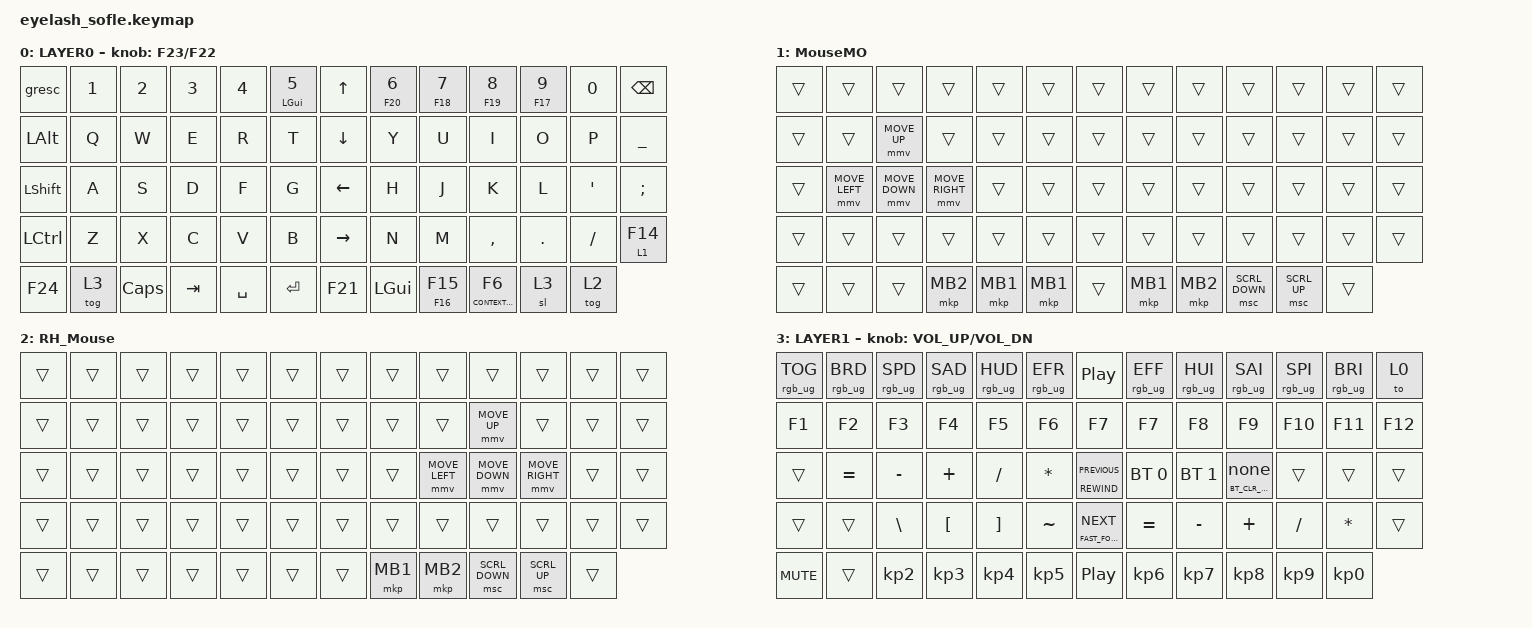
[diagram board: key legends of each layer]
#define ZMK_POINTING_DEFAULT_MOVE_VAL 1200  // 600
#define ZMK_POINTING_DEFAULT_SCRL_VAL 25   // 10

#include <input/processors.dtsi>
#include <zephyr/dt-bindings/input/input-event-codes.h>
#include <behaviors.dtsi>
#include <dt-bindings/zmk/keys.h>
#include <dt-bindings/zmk/pointing.h>
#include <dt-bindings/zmk/rgb.h>
#include <dt-bindings/zmk/bt.h>

&mmv_input_listener { input-processors = <&zip_xy_scaler 2 1>; };

&msc_input_listener { input-processors = <&zip_scroll_scaler 2 1>; };

&msc {
    acceleration-exponent = <1>;      // 0
    time-to-max-speed-ms = <100>;       // 300
    delay-ms = <0>;                   // 0
};

&mmv {
    time-to-max-speed-ms = <500>;
    acceleration-exponent = <1>;
    trigger-period-ms = <16>;
};

&soft_off { hold-time-ms = <2000>; };

// Mod-tap keys on the number row: only become a hold if another key is
// pressed AND released while held, so fast typing stays as taps
&mt {
    flavor = "balanced";
    tapping-term-ms = <200>;
    quick-tap-ms = <175>;
};

/ {
    scroll_encoder: scroll_encoder {
        compatible = "zmk,behavior-sensor-rotate";
        #sensor-binding-cells = <0>;
        bindings = <&msc SCRL_DOWN>, <&msc SCRL_UP>;

        tap-ms = <100>;
    };

    behaviors {
        // Clear the active Bluetooth profile's pairing, but only when held
        // for 1 second. A quick tap does nothing, so it can't fire by accident.
        bt_clr_hold: bt_clr_hold {
            compatible = "zmk,behavior-hold-tap";
            #binding-cells = <2>;
            flavor = "tap-preferred";
            tapping-term-ms = <1000>;
            bindings = <&bt>, <&none>;
        };

        // Tells both halves which PC is active, so the screens show night on
        // PC one and day on PC two (see src/pc_scene.c). Runs automatically;
        // not for a key. Name must stay 8 characters or fewer.
        pc_scene: pc_scene {
            compatible = "zmk,behavior-pc-scene";
            #binding-cells = <1>;
        };
    };

    // RGB colour by layer and PC (see src/layer_color.c). The colour changes as
    // soon as a layer becomes active or you switch PC, on both halves.
    // hue = <PC-one PC-two>: cool colours for PC one, warm colours for PC two.
    // hue: 0 red, 30 orange/amber, 60 yellow, 120 green, 160 teal, 180 cyan,
    //      240 blue, 280 violet, 300 magenta, 330 pink
    // Optional per layer: saturation = <0-100>; brightness = <0-100>;
    //   effect = <0 solid, 1 breathe, 2 spectrum, 3 swirl>;
    // Brightness left out = whatever you set with RGB_BRI / RGB_BRD.
    layer_colors {
        compatible = "zmk,layer-color";

        base     { layer = <0>; hue = <160  30>; };  // LAYER0:          teal   / amber
        mouse    { layer = <1>; hue = <240   0>; };  // MouseMO (hold):  blue   / red
        rh_mouse { layer = <2>; hue = <120  60>; };  // RH_Mouse (tog):  green  / yellow
        fn_rgb   { layer = <3>; hue = <280 330>; };  // RGBF12Extra:     violet / pink
    };

    combos {
        compatible = "zmk,combos";

        softoff {
            bindings = <&soft_off>;
            key-positions = <14 28 40>;
        };

        delete {
            bindings = <&kp DELETE>;
            key-positions = <1 15>;
        };
    };

    macros {
        SHIFT_MCLK: SHIFT_MCLK {
            compatible = "zmk,behavior-macro";
            #binding-cells = <0>;
            bindings =
                <&macro_press>,
                <&kp LEFT_SHIFT>,
                <&macro_press>,
                <&mkp MB3>,
                <&macro_pause_for_release>,
                <&macro_release>,
                <&kp LEFT_SHIFT &mkp MB3>;

            label = "SHIFT_MCLK";
        };

        glaze_max: glaze_max {
            compatible = "zmk,behavior-macro";
            #binding-cells = <0>;
            bindings = <&kp LEFT_ALT &kp F>;
            label = "GLAZE_MAX";
        };

        glaze_min: glaze_min {
            compatible = "zmk,behavior-macro";
            #binding-cells = <0>;
            bindings = <&kp LEFT_ALT &kp M>;
            label = "GLAZE_MIN";
        };

        alwaysontop: alwaysontop {
            compatible = "zmk,behavior-macro";
            #binding-cells = <0>;
            bindings = <&kp LCTRL &kp LEFT_GUI &kp T>;
            label = "ALWAYSONTOP";
        };

        taskview: taskview {
            compatible = "zmk,behavior-macro";
            #binding-cells = <0>;
            bindings = <&kp LEFT_GUI &kp TAB>;
            label = "TASKVIEW";
        };

        glaze_toggle: glaze_toggle {
            compatible = "zmk,behavior-macro";
            #binding-cells = <0>;
            bindings = <&kp LEFT_ALT &kp T>;
            label = "GLAZE_TOGGLE";
        };
    };

    keymap {
        compatible = "zmk,keymap";

        layer0 {
            bindings = <
&gresc          &kp N1  &kp N2        &kp N3   &kp N4     &mt LGUI N5    &kp UP_ARROW     &mt F20 N6    &mt F18 NUMBER_7  &mt F19 N8             &mt F17 N9  &kp N0            &kp BACKSPACE
&kp LEFT_ALT    &kp Q   &kp W         &kp E    &kp R      &kp T          &kp DOWN_ARROW   &kp Y         &kp U             &kp I                  &kp O       &kp P             &kp UNDER
&kp LEFT_SHIFT  &kp A   &kp S         &kp D    &kp F      &kp G          &kp LEFT_ARROW   &kp H         &kp J             &kp K                  &kp L       &kp SINGLE_QUOTE  &kp SEMI
&kp LCTRL       &kp Z   &kp X         &kp C    &kp V      &kp B          &kp RIGHT_ARROW  &kp N         &kp M             &kp COMMA              &kp DOT     &kp FSLH          &lt 1 F14
&kp F24         &tog 3  &kp CAPSLOCK  &kp TAB  &kp SPACE  &kp ENTER      &kp F21          &kp LEFT_GUI  &mt F16 F15       &mt K_CONTEXT_MENU F6  &sl 3       &tog 2
            >;

            sensor-bindings = <&inc_dec_kp F23 F22>;
            display-name = "LAYER0";
        };

        MouseMO {
            bindings = <
&trans  &trans          &trans          &trans           &trans    &trans      &trans  &trans    &trans    &trans          &trans        &trans  &trans
&trans  &trans          &mmv MOVE_UP    &trans           &trans    &trans      &trans  &trans    &trans    &trans          &trans        &trans  &trans
&trans  &mmv MOVE_LEFT  &mmv MOVE_DOWN  &mmv MOVE_RIGHT  &trans    &trans      &trans  &trans    &trans    &trans          &trans        &trans  &trans
&trans  &trans          &trans          &trans           &trans    &trans      &trans  &trans    &trans    &trans          &trans        &trans  &trans
&trans  &trans          &trans          &mkp MB2         &mkp MB1  &mkp MB1    &trans  &mkp MB1  &mkp MB2  &msc SCRL_DOWN  &msc SCRL_UP  &trans
            >;
        };

        RH_Mouse {
            bindings = <
&trans  &trans  &trans  &trans  &trans  &trans    &trans  &trans    &trans          &trans          &trans           &trans  &trans
&trans  &trans  &trans  &trans  &trans  &trans    &trans  &trans    &trans          &mmv MOVE_UP    &trans           &trans  &trans
&trans  &trans  &trans  &trans  &trans  &trans    &trans  &trans    &mmv MOVE_LEFT  &mmv MOVE_DOWN  &mmv MOVE_RIGHT  &trans  &trans
&trans  &trans  &trans  &trans  &trans  &trans    &trans  &trans    &trans          &trans          &trans           &trans  &trans
&trans  &trans  &trans  &trans  &trans  &trans    &trans  &mkp MB1  &mkp MB2        &msc SCRL_DOWN  &msc SCRL_UP     &trans
            >;
        };

        RGBF12Extra {
            bindings = <
&rgb_ug RGB_TOG  &rgb_ug RGB_BRD  &rgb_ug RGB_SPD  &rgb_ug RGB_SAD   &rgb_ug RGB_HUD  &rgb_ug RGB_EFR    &kp C_PLAY_PAUSE           &rgb_ug RGB_EFF  &rgb_ug RGB_HUI  &rgb_ug RGB_SAI  &rgb_ug RGB_SPI  &rgb_ug RGB_BRI  &to 0
&kp F1           &kp F2           &kp F3           &kp F4            &kp F5           &kp F6             &kp F7                     &kp F7           &kp F8           &kp F9           &kp F10          &kp F11          &kp F12
&trans           &kp EQUAL        &kp MINUS        &kp PLUS          &kp SLASH        &kp ASTERISK       &mt C_REWIND C_PREVIOUS    &bt BT_SEL 0     &bt BT_SEL 1     &bt_clr_hold BT_CLR_CMD 0  &trans  &trans           &trans
&trans           &trans           &kp BSLH         &kp LEFT_BRACKET  &kp RBKT         &kp TILDE          &mt C_FAST_FORWARD C_NEXT  &kp EQUAL        &kp MINUS        &kp PLUS         &kp FSLH         &kp STAR         &trans
&kp C_MUTE       &trans           &kp KP_NUMBER_2  &kp KP_NUMBER_3   &kp KP_NUMBER_4  &kp KP_NUMBER_5    &kp C_PLAY_PAUSE           &kp KP_NUMBER_6  &kp KP_NUMBER_7  &kp KP_NUMBER_8  &kp KP_NUMBER_9  &kp KP_NUMBER_0
            >;

            sensor-bindings = <&inc_dec_kp C_VOLUME_UP C_VOL_DN>;
            display-name = "LAYER1";
        };
    };
};
